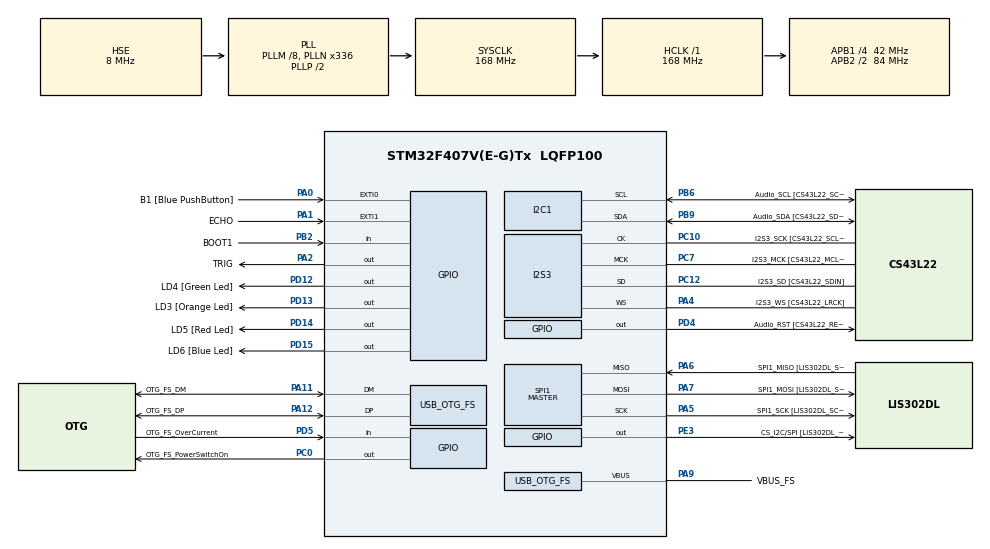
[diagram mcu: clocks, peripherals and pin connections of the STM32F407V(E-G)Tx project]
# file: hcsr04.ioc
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PA11.GPIO_Speed=GPIO_SPEED_FREQ_LOW
PD12.GPIO_Label=LD4 [Green Led]
PH0-OSC_IN.Signal=RCC_OSC_IN
PC10.GPIO_PuPd=GPIO_NOPULL
SPI1.VirtualType=VM_MASTER
PB10.GPIO_PuPd=GPIO_NOPULL
PA10.GPIO_PuPd=GPIO_NOPULL
PC12.Signal=I2S3_SD
PA14.GPIO_Label=SWCLK
PA6.GPIO_Label=SPI1_MISO [LIS302DL_SDO]
PB6.GPIO_Label=Audio_SCL [CS43L22_SCL]
PC15-OSC32_OUT.GPIO_Label=PC15-OSC32_OUT
PC3.GPIO_Speed=GPIO_SPEED_FREQ_LOW
RCC.SYSCLKSource=RCC_SYSCLKSOURCE_PLLCLK
PA6.GPIO_Mode=GPIO_MODE_AF_PP
PD14.GPIO_Speed=GPIO_SPEED_FREQ_LOW
NVIC.EXTI1_IRQn=true\:0\:0\:false\:false\:true\:true\:true
PA4.Mode=Half_Duplex_Master
SPI1.Direction=SPI_DIRECTION_2LINES
I2S3.AudioFreq-Half_Duplex_Master=I2S_AUDIOFREQ_96K
PD4.Signal=GPIO_Output
RCC.APB2TimFreq_Value=168000000
VP_TIM10_VS_ClockSourceINT.Mode=Enable_Timer
PB6.Signal=I2C1_SCL
PC7.Signal=I2S3_MCK
PB6.Mode=I2C
PC3.Signal=I2S2_SD
USB_OTG_FS.phy_itface=HCD_PHY_EMBEDDED
PB2.Signal=GPIO_Input
I2S3.ErrorAudioFreq=-2.34 %
PA5.GPIO_PuPd=GPIO_NOPULL
I2S3.ErrorAudioFreq-Half_Duplex_Master=0.8 %
PD5.GPIO_Mode=GPIO_MODE_INPUT
PD14.GPIO_PuPd=GPIO_NOPULL
PB2.GPIO_PuPd=GPIO_NOPULL
SPI1.CalculateBaudRate-Full_Duplex_Master=42.0 MBits/s
Mcu.Package=LQFP100
PB9.Signal=I2C1_SDA
PD12.Signal=GPIO_Output
PB9.GPIO_PuPd=GPIO_NOPULL
PA10.Signal=USB_OTG_FS_ID
RCC.APB2CLKDivider=RCC_HCLK_DIV2
RCC.APB1TimFreq_Value=84000000
PC12.GPIO_PuPd=GPIO_NOPULL
PA6.GPIO_Speed=GPIO_SPEED_FREQ_LOW
PA12.GPIO_PuPd=GPIO_NOPULL
PA4.GPIO_Label=I2S3_WS [CS43L22_LRCK]
PD15.Signal=GPIO_Output
PC0.PinState=GPIO_PIN_SET
PA5.Mode=Full_Duplex_Master
I2S3.FullDuplexMode=I2S_FULLDUPLEXMODE_DISABLE
PA9.GPIO_Label=VBUS_FS
PB6.GPIO_PuPd=GPIO_NOPULL
PA11.GPIO_Label=OTG_FS_DM
PC0.Signal=GPIO_Output
RCC.APB1CLKDivider=RCC_HCLK_DIV4
PC14-OSC32_IN.Signal=RCC_OSC32_IN
PA0-WKUP.GPIO_ModeDefaultEXTI=GPIO_MODE_EVT_RISING
PA0-WKUP.GPIO_Label=B1 [Blue PushButton]
PA0-WKUP.Signal=GPXTI0
USB_HOST0.BSP.STBoard=false
PC10.GPIO_Mode=GPIO_MODE_AF_PP
PB10.GPIO_Mode=GPIO_MODE_AF_PP
PA9.Signal=USB_OTG_FS_VBUS
I2S3.VirtualMode=I2S_MODE_MASTER
PC7.GPIO_PuPd=GPIO_NOPULL
PB10.Signal=I2S2_CK
PA5.Signal=SPI1_SCK
PC12.Mode=Half_Duplex_Master
USB_HOST.VirtualModeFS=Cdc
PA7.GPIO_Speed=GPIO_SPEED_FREQ_LOW
PB2.GPIO_Mode=GPIO_MODE_INPUT
SPI1.Mode=SPI_MODE_MASTER
PD4.GPIO_Speed=GPIO_SPEED_FREQ_LOW
PA1.GPIO_Label=ECHO
PE3.GPIO_PuPd=GPIO_NOPULL
PH1-OSC_OUT.GPIO_Label=PH1-OSC_OUT
PA13.Mode=Serial_Wire
PC7.GPIO_Label=I2S3_MCK [CS43L22_MCLK]
PA4.Signal=I2S3_WS
PC12.GPIO_Mode=GPIO_MODE_AF_PP
PA5.GPIO_Label=SPI1_SCK [LIS302DL_SCL/SPC]
PE3.GPIO_Speed=GPIO_SPEED_FREQ_LOW
PC12.GPIO_Label=I2S3_SD [CS43L22_SDIN]
PA11.Signal=USB_OTG_FS_DM
ProjectManager.HeapSize=0x200
NVIC.PriorityGroup=NVIC_PRIORITYGROUP_0
PE3.Signal=GPIO_Output
PC3.GPIO_Label=PDM_OUT [MP45DT02_DOUT]
PA0-WKUP.GPIO_PuPd=GPIO_NOPULL
I2S3.Instance=SPI$Index
PB6.GPIO_Speed=GPIO_SPEED_FREQ_LOW
SPI1.BaudRatePrescaler-Full_Duplex_Master=SPI_BAUDRATEPRESCALER_2
USB_HOST0.BSP.mode=Output
Mcu.Family=STM32F4
PC3.GPIO_Mode=GPIO_MODE_AF_PP
PA6.Mode=Full_Duplex_Master
RCC.CortexFreq_Value=168000000
PB10.GPIO_Speed=GPIO_SPEED_FREQ_LOW
PB6.GPIO_Mode=GPIO_MODE_AF_OD
PD15.GPIO_Speed=GPIO_SPEED_FREQ_LOW
PC10.Signal=I2S3_CK
PA7.GPIO_Mode=GPIO_MODE_AF_PP
PC0.GPIO_Label=OTG_FS_PowerSwitchOn
PA11.Mode=Host_Only
PC10.GPIO_Speed=GPIO_SPEED_FREQ_LOW
PA11.GPIO_PuPd=GPIO_NOPULL
ProjectManager.StackSize=0x400
SPI1.Mode-Full_Duplex_Master=SPI_MODE_MASTER
PD13.Signal=GPIO_Output
PA12.Signal=USB_OTG_FS_DP
RCC.HCLKFreq_Value=168000000
USB_HOST0.BSP.ip=GPIO
RCC.AHBFreq_Value=168000000
PH0-OSC_IN.Mode=HSE-External-Oscillator
PH0-OSC_IN.GPIO_Label=PH0-OSC_IN
PA9.GPIO_Mode=GPIO_MODE_INPUT
RCC.HSE_VALUE=8000000
PA4.GPIO_PuPd=GPIO_NOPULL
PA4.GPIO_Speed=GPIO_SPEED_FREQ_LOW
PA6.GPIO_PuPd=GPIO_NOPULL
PC14-OSC32_IN.Mode=LSE-External-Oscillator
PA14.Mode=Serial_Wire
PA10.GPIO_Label=OTG_FS_ID
PC7.GPIO_Mode=GPIO_MODE_AF_PP
USB_HOST0.BSP.i2creg=0
PH1-OSC_OUT.Mode=HSE-External-Oscillator
USB_HOST0.BSP.i2caddr=0
PD13.GPIO_Label=LD3 [Orange Led]
PA6.Signal=SPI1_MISO
USB_HOST.USBH_HandleTypeDef-CDC_FS=hUsbHostFS
PD5.GPIO_Label=OTG_FS_OverCurrent
NVIC.OTG_FS_IRQn=true\:0\:0\:false\:false\:true\:true\:true
PD15.GPIO_PuPd=GPIO_NOPULL
PA2.GPIO_Label=TRIG
USB_OTG_FS.VirtualMode=Host_Only
PA10.GPIO_Speed=GPIO_SPEED_FREQ_LOW
USB_HOST0.BSP.name=Drive_VBUS_FS
PB9.GPIO_Speed=GPIO_SPEED_FREQ_LOW
PC14-OSC32_IN.GPIO_Label=PC14-OSC32_IN
PC0.GPIO_PuPd=GPIO_NOPULL
PA1.GPIO_ModeDefaultEXTI=GPIO_MODE_IT_RISING_FALLING
PA12.GPIO_Speed=GPIO_SPEED_FREQ_LOW
PB3.GPIO_Label=SWO
TIM10.Prescaler=83
PC15-OSC32_OUT.Mode=LSE-External-Oscillator
PD12.GPIO_Speed=GPIO_SPEED_FREQ_LOW
PD15.GPIO_Label=LD6 [Blue Led]
PA7.Mode=Full_Duplex_Master
PB9.GPIO_Label=Audio_SDA [CS43L22_SDA]
PC10.GPIO_Label=I2S3_SCK [CS43L22_SCLK]
USB_HOST0.BSP.solution=PC0
PC10.Mode=Half_Duplex_Master
USB_HOST.BSP.number=1
PD5.Signal=GPIO_Input
PA9.GPIO_PuPd=GPIO_NOPULL
PA12.GPIO_Label=OTG_FS_DP
PA10.GPIO_Mode=GPIO_MODE_AF_PP
PA13.Signal=SYS_JTMS-SWDIO
PD4.GPIO_PuPd=GPIO_NOPULL
PA9.Mode=Activate_VBUS
PC0.GPIO_Speed=GPIO_SPEED_FREQ_LOW
I2S3.RealAudioFreq-Half_Duplex_Master=96.774 KHz
ProjectManager.TargetToolchain=STM32CubeIDE
PB10.GPIO_Label=CLK_IN [MP45DT02_CLK]
PB9.Mode=I2C
PC15-OSC32_OUT.Signal=RCC_OSC32_OUT
PA1.Signal=GPXTI1
PA7.GPIO_PuPd=GPIO_NOPULL
board=STM32F407G-DISC1
PD13.GPIO_Speed=GPIO_SPEED_FREQ_LOW
PC7.GPIO_Speed=GPIO_SPEED_FREQ_LOW
RCC.VCOOutputFreq_Value=336000000
PB9.GPIO_Mode=GPIO_MODE_AF_OD
PA12.GPIO_Mode=GPIO_MODE_AF_PP
PA4.GPIO_Mode=GPIO_MODE_AF_PP
RCC.APB2Freq_Value=84000000
USB_HOST0.BSP.api=Unknown
PD4.GPIO_Label=Audio_RST [CS43L22_RESET]
PH1-OSC_OUT.Signal=RCC_OSC_OUT
PD13.GPIO_PuPd=GPIO_NOPULL
PD5.GPIO_PuPd=GPIO_NOPULL
PD14.GPIO_Label=LD5 [Red Led]
Mcu.Name=STM32F407V(E-G)Tx
PA2.Signal=GPIO_Output
PA13.GPIO_Label=SWDIO
PD14.Signal=GPIO_Output
RCC.48MHZClocksFreq_Value=48000000
PB3.Signal=SYS_JTDO-SWO
RCC.SYSCLKFreq_VALUE=168000000
PA7.GPIO_Label=SPI1_MOSI [LIS302DL_SDA/SDI/SDO]
PA12.Mode=Host_Only
VP_USB_HOST_VS_USB_HOST_CDC_FS.Mode=CDC_FS
PA14.Signal=SYS_JTCK-SWCLK
PB2.GPIO_Label=BOOT1
RCC.HSI_VALUE=16000000
PA5.GPIO_Speed=GPIO_SPEED_FREQ_LOW
RCC.PLLQ=7
I2S3.RealAudioFreq=93.75 KHz
RCC.PLLM=8
RCC.PLLN=336
PE3.GPIO_Label=CS_I2C/SPI [LIS302DL_CS_I2C/SPI]
PC7.Mode=Master_Clock_Activated
PA11.GPIO_Mode=GPIO_MODE_AF_PP
RCC.APB1Freq_Value=42000000
PA5.GPIO_Mode=GPIO_MODE_AF_PP
PC12.GPIO_Speed=GPIO_SPEED_FREQ_LOW
PC3.GPIO_PuPd=GPIO_NOPULL
PD12.GPIO_PuPd=GPIO_NOPULL
PA7.Signal=SPI1_MOSI
USB_HOST0.BSP.instance=PC0

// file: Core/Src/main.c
/* USER CODE BEGIN Header */
/**
  ******************************************************************************
  * @file           : main.c
  * @brief          : Main program body
  ******************************************************************************
  * @attention
  *
  * <h2><center>&copy; Copyright (c) 2021 STMicroelectronics.
  * All rights reserved.</center></h2>
  *
  * This software component is licensed by ST under Ultimate Liberty license
  * SLA0044, the "License"; You may not use this file except in compliance with
  * the License. You may obtain a copy of the License at:
  *                             www.st.com/SLA0044
  *
  ******************************************************************************
  */
/* USER CODE END Header */
#include "main.h"
#include "usb_host.h"

I2C_HandleTypeDef hi2c1;

I2S_HandleTypeDef hi2s3;

SPI_HandleTypeDef hspi1;

TIM_HandleTypeDef htim10;

void SystemClock_Config(void);
static void MX_GPIO_Init(void);
static void MX_I2C1_Init(void);
static void MX_I2S3_Init(void);
static void MX_SPI1_Init(void);
static void MX_TIM10_Init(void);
void MX_USB_HOST_Process(void);

/* USER CODE BEGIN 0 */
struct
{
	uint32_t us;
	uint32_t distance;// sensörümüzün ölçtüğü uzaklık(uS*10/58) bu değişkene atayacağız.
	uint32_t digital;

}hcsr04;
/* USER CODE END 0 */

int main(void)
{

  /* MCU Configuration--------------------------------------------------------*/

  /* Reset of all peripherals, Initializes the Flash interface and the Systick. */
  HAL_Init();

  /* Configure the system clock */
  SystemClock_Config();

  /* Initialize all configured peripherals */
  MX_GPIO_Init();
  MX_I2C1_Init();
  MX_I2S3_Init();
  MX_SPI1_Init();
  MX_USB_HOST_Init();
  MX_TIM10_Init();

  /* Infinite loop */
  /* USER CODE BEGIN WHILE */
  while (1)
  {
	  HAL_GPIO_WritePin(TRIG_GPIO_Port, TRIG_Pin,GPIO_PIN_SET );
	  HAL_Delay(1);
	  HAL_GPIO_WritePin(TRIG_GPIO_Port, TRIG_Pin,GPIO_PIN_RESET );
	  hcsr04.digital=HAL_GPIO_ReadPin(TRIG_GPIO_Port, TRIG_Pin);
	  HAL_Delay(100);

    /* USER CODE END WHILE */
    MX_USB_HOST_Process();

  }
}

void SystemClock_Config(void)
{
  RCC_OscInitTypeDef RCC_OscInitStruct = {0};
  RCC_ClkInitTypeDef RCC_ClkInitStruct = {0};
  RCC_PeriphCLKInitTypeDef PeriphClkInitStruct = {0};

  /** Configure the main internal regulator output voltage
  */
  __HAL_RCC_PWR_CLK_ENABLE();
  __HAL_PWR_VOLTAGESCALING_CONFIG(PWR_REGULATOR_VOLTAGE_SCALE1);
  /** Initializes the RCC Oscillators according to the specified parameters
  * in the RCC_OscInitTypeDef structure.
  */
  RCC_OscInitStruct.OscillatorType = RCC_OSCILLATORTYPE_HSE;
  RCC_OscInitStruct.HSEState = RCC_HSE_ON;
  RCC_OscInitStruct.PLL.PLLState = RCC_PLL_ON;
  RCC_OscInitStruct.PLL.PLLSource = RCC_PLLSOURCE_HSE;
  RCC_OscInitStruct.PLL.PLLM = 8;
  RCC_OscInitStruct.PLL.PLLN = 336;
  RCC_OscInitStruct.PLL.PLLP = RCC_PLLP_DIV2;
  RCC_OscInitStruct.PLL.PLLQ = 7;
  if (HAL_RCC_OscConfig(&RCC_OscInitStruct) != HAL_OK)
  {
    Error_Handler();
  }
  /** Initializes the CPU, AHB and APB buses clocks
  */
  RCC_ClkInitStruct.ClockType = RCC_CLOCKTYPE_HCLK|RCC_CLOCKTYPE_SYSCLK
                              |RCC_CLOCKTYPE_PCLK1|RCC_CLOCKTYPE_PCLK2;
  RCC_ClkInitStruct.SYSCLKSource = RCC_SYSCLKSOURCE_PLLCLK;
  RCC_ClkInitStruct.AHBCLKDivider = RCC_SYSCLK_DIV1;
  RCC_ClkInitStruct.APB1CLKDivider = RCC_HCLK_DIV4;
  RCC_ClkInitStruct.APB2CLKDivider = RCC_HCLK_DIV2;

  if (HAL_RCC_ClockConfig(&RCC_ClkInitStruct, FLASH_LATENCY_5) != HAL_OK)
  {
    Error_Handler();
  }
  PeriphClkInitStruct.PeriphClockSelection = RCC_PERIPHCLK_I2S;
  PeriphClkInitStruct.PLLI2S.PLLI2SN = 192;
  PeriphClkInitStruct.PLLI2S.PLLI2SR = 2;
  if (HAL_RCCEx_PeriphCLKConfig(&PeriphClkInitStruct) != HAL_OK)
  {
    Error_Handler();
  }
}

static void MX_I2C1_Init(void)
{

  hi2c1.Instance = I2C1;
  hi2c1.Init.ClockSpeed = 100000;
  hi2c1.Init.DutyCycle = I2C_DUTYCYCLE_2;
  hi2c1.Init.OwnAddress1 = 0;
  hi2c1.Init.AddressingMode = I2C_ADDRESSINGMODE_7BIT;
  hi2c1.Init.DualAddressMode = I2C_DUALADDRESS_DISABLE;
  hi2c1.Init.OwnAddress2 = 0;
  hi2c1.Init.GeneralCallMode = I2C_GENERALCALL_DISABLE;
  hi2c1.Init.NoStretchMode = I2C_NOSTRETCH_DISABLE;
  if (HAL_I2C_Init(&hi2c1) != HAL_OK)
  {
    Error_Handler();
  }

}

static void MX_I2S3_Init(void)
{

  hi2s3.Instance = SPI3;
  hi2s3.Init.Mode = I2S_MODE_MASTER_TX;
  hi2s3.Init.Standard = I2S_STANDARD_PHILIPS;
  hi2s3.Init.DataFormat = I2S_DATAFORMAT_16B;
  hi2s3.Init.MCLKOutput = I2S_MCLKOUTPUT_ENABLE;
  hi2s3.Init.AudioFreq = I2S_AUDIOFREQ_96K;
  hi2s3.Init.CPOL = I2S_CPOL_LOW;
  hi2s3.Init.ClockSource = I2S_CLOCK_PLL;
  hi2s3.Init.FullDuplexMode = I2S_FULLDUPLEXMODE_DISABLE;
  if (HAL_I2S_Init(&hi2s3) != HAL_OK)
  {
    Error_Handler();
  }

}

static void MX_SPI1_Init(void)
{

  /* SPI1 parameter configuration*/
  hspi1.Instance = SPI1;
  hspi1.Init.Mode = SPI_MODE_MASTER;
  hspi1.Init.Direction = SPI_DIRECTION_2LINES;
  hspi1.Init.DataSize = SPI_DATASIZE_8BIT;
  hspi1.Init.CLKPolarity = SPI_POLARITY_LOW;
  hspi1.Init.CLKPhase = SPI_PHASE_1EDGE;
  hspi1.Init.NSS = SPI_NSS_SOFT;
  hspi1.Init.BaudRatePrescaler = SPI_BAUDRATEPRESCALER_2;
  hspi1.Init.FirstBit = SPI_FIRSTBIT_MSB;
  hspi1.Init.TIMode = SPI_TIMODE_DISABLE;
  hspi1.Init.CRCCalculation = SPI_CRCCALCULATION_DISABLE;
  hspi1.Init.CRCPolynomial = 10;
  if (HAL_SPI_Init(&hspi1) != HAL_OK)
  {
    Error_Handler();
  }

}

static void MX_TIM10_Init(void)
{

  htim10.Instance = TIM10;
  htim10.Init.Prescaler = 83;
  htim10.Init.CounterMode = TIM_COUNTERMODE_UP;
  htim10.Init.Period = 65535;
  htim10.Init.ClockDivision = TIM_CLOCKDIVISION_DIV1;
  htim10.Init.AutoReloadPreload = TIM_AUTORELOAD_PRELOAD_DISABLE;
  if (HAL_TIM_Base_Init(&htim10) != HAL_OK)
  {
    Error_Handler();
  }

}

static void MX_GPIO_Init(void)
{
  GPIO_InitTypeDef GPIO_InitStruct = {0};

  /* GPIO Ports Clock Enable */
  __HAL_RCC_GPIOE_CLK_ENABLE();
  __HAL_RCC_GPIOC_CLK_ENABLE();
  __HAL_RCC_GPIOH_CLK_ENABLE();
  __HAL_RCC_GPIOA_CLK_ENABLE();
  __HAL_RCC_GPIOB_CLK_ENABLE();
  __HAL_RCC_GPIOD_CLK_ENABLE();

  /*Configure GPIO pin Output Level */
  HAL_GPIO_WritePin(CS_I2C_SPI_GPIO_Port, CS_I2C_SPI_Pin, GPIO_PIN_RESET);

  /*Configure GPIO pin Output Level */
  HAL_GPIO_WritePin(OTG_FS_PowerSwitchOn_GPIO_Port, OTG_FS_PowerSwitchOn_Pin, GPIO_PIN_SET);

  /*Configure GPIO pin Output Level */
  HAL_GPIO_WritePin(TRIG_GPIO_Port, TRIG_Pin, GPIO_PIN_RESET);

  /*Configure GPIO pin Output Level */
  HAL_GPIO_WritePin(GPIOD, LD4_Pin|LD3_Pin|LD5_Pin|LD6_Pin
                          |Audio_RST_Pin, GPIO_PIN_RESET);

  /*Configure GPIO pin : CS_I2C_SPI_Pin */
  GPIO_InitStruct.Pin = CS_I2C_SPI_Pin;
  GPIO_InitStruct.Mode = GPIO_MODE_OUTPUT_PP;
  GPIO_InitStruct.Pull = GPIO_NOPULL;
  GPIO_InitStruct.Speed = GPIO_SPEED_FREQ_LOW;
  HAL_GPIO_Init(CS_I2C_SPI_GPIO_Port, &GPIO_InitStruct);

  /*Configure GPIO pin : OTG_FS_PowerSwitchOn_Pin */
  GPIO_InitStruct.Pin = OTG_FS_PowerSwitchOn_Pin;
  GPIO_InitStruct.Mode = GPIO_MODE_OUTPUT_PP;
  GPIO_InitStruct.Pull = GPIO_NOPULL;
  GPIO_InitStruct.Speed = GPIO_SPEED_FREQ_LOW;
  HAL_GPIO_Init(OTG_FS_PowerSwitchOn_GPIO_Port, &GPIO_InitStruct);

  /*Configure GPIO pin : PDM_OUT_Pin */
  GPIO_InitStruct.Pin = PDM_OUT_Pin;
  GPIO_InitStruct.Mode = GPIO_MODE_AF_PP;
  GPIO_InitStruct.Pull = GPIO_NOPULL;
  GPIO_InitStruct.Speed = GPIO_SPEED_FREQ_LOW;
  GPIO_InitStruct.Alternate = GPIO_AF5_SPI2;
  HAL_GPIO_Init(PDM_OUT_GPIO_Port, &GPIO_InitStruct);

  /*Configure GPIO pin : B1_Pin */
  GPIO_InitStruct.Pin = B1_Pin;
  GPIO_InitStruct.Mode = GPIO_MODE_EVT_RISING;
  GPIO_InitStruct.Pull = GPIO_NOPULL;
  HAL_GPIO_Init(B1_GPIO_Port, &GPIO_InitStruct);

  /*Configure GPIO pin : ECHO_Pin */
  GPIO_InitStruct.Pin = ECHO_Pin;
  GPIO_InitStruct.Mode = GPIO_MODE_IT_RISING_FALLING;
  GPIO_InitStruct.Pull = GPIO_NOPULL;
  HAL_GPIO_Init(ECHO_GPIO_Port, &GPIO_InitStruct);

  /*Configure GPIO pin : TRIG_Pin */
  GPIO_InitStruct.Pin = TRIG_Pin;
  GPIO_InitStruct.Mode = GPIO_MODE_OUTPUT_PP;
  GPIO_InitStruct.Pull = GPIO_NOPULL;
  GPIO_InitStruct.Speed = GPIO_SPEED_FREQ_LOW;
  HAL_GPIO_Init(TRIG_GPIO_Port, &GPIO_InitStruct);

  /*Configure GPIO pin : BOOT1_Pin */
  GPIO_InitStruct.Pin = BOOT1_Pin;
  GPIO_InitStruct.Mode = GPIO_MODE_INPUT;
  GPIO_InitStruct.Pull = GPIO_NOPULL;
  HAL_GPIO_Init(BOOT1_GPIO_Port, &GPIO_InitStruct);

  /*Configure GPIO pin : CLK_IN_Pin */
  GPIO_InitStruct.Pin = CLK_IN_Pin;
  GPIO_InitStruct.Mode = GPIO_MODE_AF_PP;
  GPIO_InitStruct.Pull = GPIO_NOPULL;
  GPIO_InitStruct.Speed = GPIO_SPEED_FREQ_LOW;
  GPIO_InitStruct.Alternate = GPIO_AF5_SPI2;
  HAL_GPIO_Init(CLK_IN_GPIO_Port, &GPIO_InitStruct);

  /*Configure GPIO pins : LD4_Pin LD3_Pin LD5_Pin LD6_Pin
                           Audio_RST_Pin */
  GPIO_InitStruct.Pin = LD4_Pin|LD3_Pin|LD5_Pin|LD6_Pin
                          |Audio_RST_Pin;
  GPIO_InitStruct.Mode = GPIO_MODE_OUTPUT_PP;
  GPIO_InitStruct.Pull = GPIO_NOPULL;
  GPIO_InitStruct.Speed = GPIO_SPEED_FREQ_LOW;
  HAL_GPIO_Init(GPIOD, &GPIO_InitStruct);

  /*Configure GPIO pin : OTG_FS_OverCurrent_Pin */
  GPIO_InitStruct.Pin = OTG_FS_OverCurrent_Pin;
  GPIO_InitStruct.Mode = GPIO_MODE_INPUT;
  GPIO_InitStruct.Pull = GPIO_NOPULL;
  HAL_GPIO_Init(OTG_FS_OverCurrent_GPIO_Port, &GPIO_InitStruct);

  /* EXTI interrupt init*/
  HAL_NVIC_SetPriority(EXTI1_IRQn, 0, 0);
  HAL_NVIC_EnableIRQ(EXTI1_IRQn);

}

/* USER CODE BEGIN 4 */
void HAL_GPIO_EXTI_Callback(uint16_t GPIO_Pin)
{
	//Uygulamamızda birden fazla kesme varsa, gelen kesmenin hangi pinden geldiğini anlamak için if yazılır.Bu örneğimizde sadece bir tane kesme var.
	if(GPIO_Pin == ECHO_Pin)//kesmemiz echo pininden geldi.
	{
		if(HAL_GPIO_ReadPin(ECHO_GPIO_Port,ECHO_Pin) == GPIO_PIN_SET)
		{
			__HAL_TIM_SetCounter(&htim10,0);
			HAL_TIM_Base_Start(&htim10);
		}
		else
		{
			HAL_TIM_Base_Stop(&htim10);
			hcsr04.us = __HAL_TIM_GetCounter(&htim10);
			hcsr04.distance = (hcsr04.us*10)/58;
		}
	}
	else
	{

	}
}

/* USER CODE END 4 */

void Error_Handler(void)
{
  __disable_irq();
  while (1)
  {
  }
}

/************************ (C) COPYRIGHT STMicroelectronics *****END OF FILE****/
